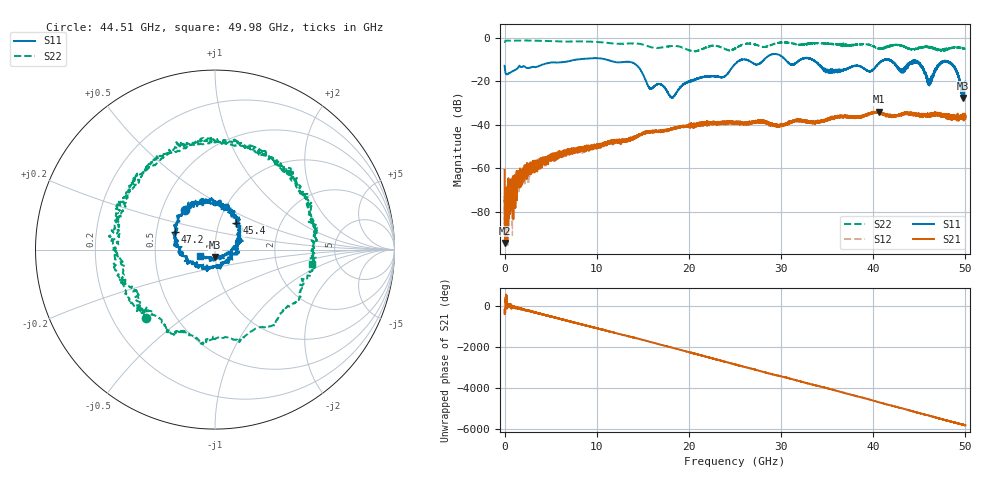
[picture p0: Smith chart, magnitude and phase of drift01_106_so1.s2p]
!Created with skrf (http://scikit-rf.org).
# Hz S RI R 50.0
!freq ReS11 ImS11 ReS21 ImS21 ReS12 ImS12 ReS22 ImS22
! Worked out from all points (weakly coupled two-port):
!   10001 points, 300 kHz to 50 GHz, reference 50 ohm
!   highest |S21| = -34.02 dB at 40.58 GHz (marker M1); lowest = -94.5 dB at 40.3 MHz (marker M2)
!   lowest |S11| = -27.7 dB at 49.71 GHz (marker M3), VSWR 1.09, Z = 50 - j4.11 ohm
!   |S11| at or under -10 dB: start of sweep to 8.07 GHz; 10.91 GHz to 26.01 GHz (15.1 GHz wide, 81.8 % of centre); 41.57 GHz to end of sweep (the widest 3 of 13)
!   |S22| runs from -6.4 to -1.4 dB; largest |S21 - S12| = 0.0041
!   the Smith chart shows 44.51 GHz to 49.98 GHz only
!   S11 on the Smith chart (normalised r, x): 44.51 GHz: 0.65, +0.31; 45.4 GHz: 1.21, +0.37; 47.2 GHz: 0.62, +0.13; 49.98 GHz: 0.84, -0.06
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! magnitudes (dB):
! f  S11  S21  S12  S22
! 300 kHz  -13.0  -60.8  -72.9  -2.0
! 40.3 MHz  -14.5  -94.5  -72.0  -1.7
! 265.3 MHz  -16.9  -76.4  -71.1  -1.4
! 3.04 GHz  -13.4  -58.4  -59.9  -1.4
! 8.335 GHz  -9.9  -51.0  -50.9  -1.8
! 13.8 GHz  -11.4  -46.5  -46.5  -2.7
! 15.74 GHz  -23.3  -43.4  -43.1  -4.2
! 16.67 GHz  -21.4  -43.1  -42.9  -4.8
! 18.21 GHz  -27.3  -41.9  -41.9  -3.9
! 25 GHz  -12.2  -38.8  -38.9  -5.1
! 33.34 GHz  -10.0  -38.8  -38.8  -2.7
! 35.31 GHz  -16.0  -37.0  -36.8  -2.9
! 40.58 GHz  -11.9  -34.0  -34.5  -5.0
! 41.67 GHz  -10.2  -35.9  -35.9  -4.2
! 44.51 GHz  -11.2  -35.2  -35.2  -5.3
! 45.4 GHz  -14.4  -35.5  -35.9  -4.4
! 46.12 GHz  -19.9  -36.5  -35.2  -4.3
! 47.2 GHz  -12.2  -35.1  -36.0  -5.9
! 48.65 GHz  -12.6  -36.7  -37.0  -4.7
! 49.71 GHz  -27.7  -36.4  -36.5  -4.9
! 49.98 GHz  -20.8  -35.5  -36.8  -5.2
! 50 GHz  -20.7  -37.3  -36.4  -5.4
